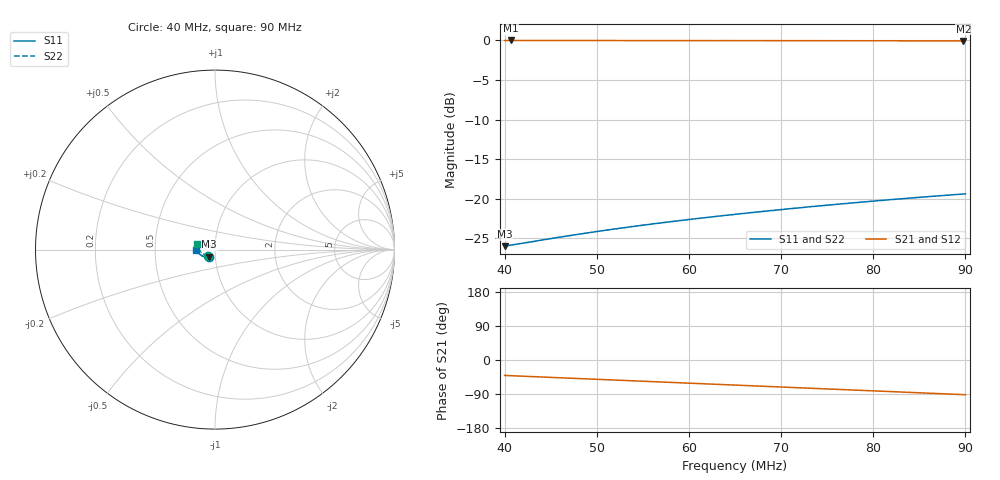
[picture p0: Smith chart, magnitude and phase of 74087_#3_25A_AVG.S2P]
!Agilent Technologies,E5061B,MY49102235,A.02.00
!Date: Mon Jul 03 11:22:07 2023
!Data & Calibration Information:
!Freq	S11:SOLT2(ON)	S21:SOLT2(ON)	S12:SOLT2(ON)	S22:SOLT2(ON)
# Hz S RI R 50
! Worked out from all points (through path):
!   1600 points, 40 MHz to 90 MHz, reference 50 ohm
!   highest |S21| = -0.01 dB at 40.69 MHz (marker M1); lowest = -0.1 dB at 89.78 MHz (marker M2)
!   group delay of S21, straight-line fit = 2.83 ns
!   lowest |S11| = -26.0 dB at 40 MHz (marker M3), VSWR 1.11, Z = 46.8 - j3.61 ohm
!   |S11| at or under -10 dB: start of sweep to end of sweep
!   |S22| runs from -26.1 to -19.4 dB; largest |S21 - S12| = 0.0014
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4e7  -0.0321 -0.0385  0.7566 -0.6523  0.7567 -0.6514  -0.0368 -0.0329
4.068793e7  -0.0331 -0.0387  0.7487 -0.6615  0.7488 -0.6605  -0.0378 -0.033
4.300188e7  -0.0364 -0.0392  0.7205 -0.6915  0.7208 -0.6909  -0.0418 -0.0328
4.444028e7  -0.0385 -0.0396  0.7024 -0.7095  0.7028 -0.709  -0.0442 -0.0326
4.834897e7  -0.0444 -0.0403  0.6514 -0.7563  0.6514 -0.7559  -0.0507 -0.0312
5.225766e7  -0.0506 -0.0404  0.5969 -0.7995  0.5969 -0.799  -0.0572 -0.0289
5.482176e7  -0.0546 -0.0401  0.5598 -0.8254  0.5598 -0.8252  -0.0615 -0.027
5.666667e7  -0.0576 -0.0397  0.5323 -0.843  0.5323 -0.8426  -0.0645 -0.0252
5.873046e7  -0.0611 -0.0389  0.5013 -0.862  0.501 -0.8613  -0.0676 -0.0233
6.082552e7  -0.0644 -0.038  0.4688 -0.8797  0.4687 -0.8791  -0.0707 -0.0211
6.501563e7  -0.0715 -0.0351  0.4019 -0.9121  0.4022 -0.9111  -0.0768 -0.0162
6.901814e7  -0.0782 -0.0314  0.3361 -0.9382  0.3366 -0.9373  -0.0825 -0.0108
7.133208e7  -0.0819 -0.0288  0.2971 -0.9511  0.2977 -0.9502  -0.0856 -0.00721
7.33646e7  -0.0852 -0.0266  0.2622 -0.9611  0.2631 -0.9603  -0.0883 -0.00396
7.530331e7  -0.0882 -0.024  0.2288 -0.9692  0.2295 -0.9687  -0.0905 -0.000617
7.746091e7  -0.0911 -0.0211  0.1915 -0.9769  0.192 -0.9764  -0.093 0.0033
7.936836e7  -0.094 -0.0185  0.158 -0.9823  0.1586 -0.982  -0.095 0.00711
8.16823e7  -0.0972 -0.0152  0.1175 -0.9876  0.1181 -0.9874  -0.0972 0.0118
8.362101e7  -0.0997 -0.0122  0.0834 -0.9905  0.0839 -0.9903  -0.0988 0.016
8.596623e7  -0.1026 -0.00841  0.0424 -0.9928  0.0427 -0.9925  -0.1004 0.0213
8.978111e7  -0.1071 -0.00176  -0.0244 -0.9927  -0.0242 -0.9924  -0.1025 0.0301
9e7  -0.1073 -0.00128  -0.028 -0.9927  -0.028 -0.9922  -0.1026 0.0307
